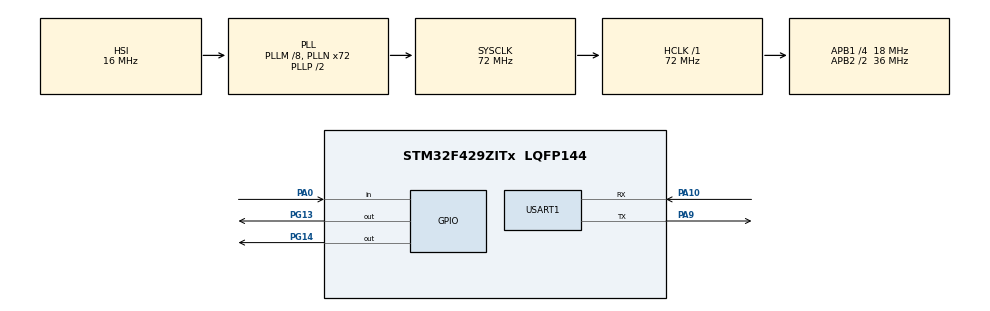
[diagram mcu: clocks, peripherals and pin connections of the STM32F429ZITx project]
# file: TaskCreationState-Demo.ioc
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FREERTOS.Tasks01=defaultTask,24,128,StartDefaultTask,Default,NULL,Dynamic,NULL,NULL
Mcu.Family=STM32F4
Mcu.Name=STM32F429ZITx
Mcu.Package=LQFP144
NVIC.PriorityGroup=NVIC_PRIORITYGROUP_4
PA0/WKUP.GPIO_PuPd=GPIO_PULLDOWN
PA0/WKUP.Signal=GPIO_Input
PA10.Mode=Asynchronous
PA10.Signal=USART1_RX
PA9.Mode=Asynchronous
PA9.Signal=USART1_TX
PG13.Signal=GPIO_Output
PG14.Signal=GPIO_Output
ProjectManager.HeapSize=0x200
ProjectManager.StackSize=0x400
ProjectManager.TargetToolchain=STM32CubeIDE
RCC.48MHZClocksFreq_Value=48000000
RCC.AHBFreq_Value=72000000
RCC.APB1CLKDivider=RCC_HCLK_DIV4
RCC.APB1Freq_Value=18000000
RCC.APB1TimFreq_Value=36000000
RCC.APB2CLKDivider=RCC_HCLK_DIV2
RCC.APB2Freq_Value=36000000
RCC.APB2TimFreq_Value=72000000
RCC.CortexFreq_Value=72000000
RCC.HCLKFreq_Value=72000000
RCC.HSE_VALUE=8000000
RCC.HSI_VALUE=16000000
RCC.LSE_VALUE=32768
RCC.PLLM=8
RCC.PLLN=72
RCC.PLLQ=3
RCC.PLLSAIN=50
RCC.SYSCLKFreq_VALUE=72000000
RCC.SYSCLKSource=RCC_SYSCLKSOURCE_PLLCLK
RCC.VCOOutputFreq_Value=144000000
USART1.VirtualMode=VM_ASYNC
VP_FREERTOS_VS_CMSIS_V2.Mode=CMSIS_V2
board=STM32F429I-DISC1

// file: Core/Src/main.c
/* USER CODE BEGIN Header */
/**
 ******************************************************************************
 * @file           : main.c
 * @brief          : Main program body
 ******************************************************************************
 * @attention
 *
 * Copyright (c) 2025 STMicroelectronics.
 * All rights reserved.
 *
 * This software is licensed under terms that can be found in the LICENSE file
 * in the root directory of this software component.
 * If no LICENSE file comes with this software, it is provided AS-IS.
 *
 ******************************************************************************
 */
/* USER CODE END Header */
#include "main.h"

UART_HandleTypeDef huart1;

/* Definitions for defaultTask */

/* USER CODE BEGIN PV */
/* Task handles */
TaskHandle_t xGreenLedTaskHandle = NULL;
TaskHandle_t xRedLedTaskHandle = NULL;
/* USER CODE END PV */

void SystemClock_Config(void);
static void MX_GPIO_Init(void);
static void MX_USART1_UART_Init(void);
void StartDefaultTask(void *argument);

/* USER CODE BEGIN PFP */
static void GreenLedTask(void *pvParameters);
static void RedLedTask(void *pvParameters);
/* USER CODE END PFP */

/* USER CODE BEGIN 0 */
int _write(int file, char *data, int len)
{
    HAL_UART_Transmit(&huart1, (uint8_t*)data, len, HAL_MAX_DELAY);
    return len;
}
/* USER CODE END 0 */

int main(void)
{

	/* MCU Configuration--------------------------------------------------------*/

	/* Reset of all peripherals, Initializes the Flash interface and the Systick. */
	HAL_Init();

	/* Configure the system clock */
	SystemClock_Config();

	/* Initialize all configured peripherals */
	MX_GPIO_Init();
	MX_USART1_UART_Init();

	/* Init scheduler */

	/* Create the thread(s) */
	/* creation of defaultTask */

	/* USER CODE BEGIN RTOS_THREADS */
	/* add threads, ... */
	printf("=== FreeRTOS Task Creation and States Demonstration ===\r\n");
	printf("STM32F429I Discovery Board\r\n");
	printf("FreeRTOS Version: %s\r\n", tskKERNEL_VERSION_NUMBER);

	/* Create tasks */
	xTaskCreate(
			GreenLedTask,           /* Task function */
			"GreenLedTask",         /* Task name */
			configMINIMAL_STACK_SIZE, /* Stack size */
			NULL,                   /* Parameters to pass to the task */
			tskIDLE_PRIORITY + 1,   /* Task priority */
			&xGreenLedTaskHandle    /* Task handle */
	);

	xTaskCreate(
			RedLedTask,             /* Task function */
			"RedLedTask",           /* Task name */
			configMINIMAL_STACK_SIZE, /* Stack size */
			NULL,                   /* Parameters to pass to the task */
			tskIDLE_PRIORITY + 1,   /* Task priority */
			&xRedLedTaskHandle      /* Task handle */
	);

	printf("All tasks created successfully. Starting scheduler...\r\n");

	/* Start the scheduler */
	vTaskStartScheduler();
	/* USER CODE END RTOS_THREADS */

	/* Start scheduler */

	/* We should never get here as control is now taken by the scheduler */

	/* Infinite loop */
	while (1)
	{

	}
}

void SystemClock_Config(void)
{
	RCC_OscInitTypeDef RCC_OscInitStruct = {0};
	RCC_ClkInitTypeDef RCC_ClkInitStruct = {0};

	/** Configure the main internal regulator output voltage
	 */
	__HAL_RCC_PWR_CLK_ENABLE();
	__HAL_PWR_VOLTAGESCALING_CONFIG(PWR_REGULATOR_VOLTAGE_SCALE3);

	/** Initializes the RCC Oscillators according to the specified parameters
	 * in the RCC_OscInitTypeDef structure.
	 */
	RCC_OscInitStruct.OscillatorType = RCC_OSCILLATORTYPE_HSI;
	RCC_OscInitStruct.HSIState = RCC_HSI_ON;
	RCC_OscInitStruct.HSICalibrationValue = RCC_HSICALIBRATION_DEFAULT;
	RCC_OscInitStruct.PLL.PLLState = RCC_PLL_ON;
	RCC_OscInitStruct.PLL.PLLSource = RCC_PLLSOURCE_HSI;
	RCC_OscInitStruct.PLL.PLLM = 8;
	RCC_OscInitStruct.PLL.PLLN = 72;
	RCC_OscInitStruct.PLL.PLLP = RCC_PLLP_DIV2;
	RCC_OscInitStruct.PLL.PLLQ = 3;
	if (HAL_RCC_OscConfig(&RCC_OscInitStruct) != HAL_OK)
	{
		Error_Handler();
	}

	/** Initializes the CPU, AHB and APB buses clocks
	 */
	RCC_ClkInitStruct.ClockType = RCC_CLOCKTYPE_HCLK|RCC_CLOCKTYPE_SYSCLK
			|RCC_CLOCKTYPE_PCLK1|RCC_CLOCKTYPE_PCLK2;
	RCC_ClkInitStruct.SYSCLKSource = RCC_SYSCLKSOURCE_PLLCLK;
	RCC_ClkInitStruct.AHBCLKDivider = RCC_SYSCLK_DIV1;
	RCC_ClkInitStruct.APB1CLKDivider = RCC_HCLK_DIV4;
	RCC_ClkInitStruct.APB2CLKDivider = RCC_HCLK_DIV2;

	if (HAL_RCC_ClockConfig(&RCC_ClkInitStruct, FLASH_LATENCY_2) != HAL_OK)
	{
		Error_Handler();
	}
}

static void MX_USART1_UART_Init(void)
{

	huart1.Instance = USART1;
	huart1.Init.BaudRate = 115200;
	huart1.Init.WordLength = UART_WORDLENGTH_8B;
	huart1.Init.StopBits = UART_STOPBITS_1;
	huart1.Init.Parity = UART_PARITY_NONE;
	huart1.Init.Mode = UART_MODE_TX_RX;
	huart1.Init.HwFlowCtl = UART_HWCONTROL_NONE;
	huart1.Init.OverSampling = UART_OVERSAMPLING_16;
	if (HAL_UART_Init(&huart1) != HAL_OK)
	{
		Error_Handler();
	}

}

static void MX_GPIO_Init(void)
{
	GPIO_InitTypeDef GPIO_InitStruct = {0};

	/* GPIO Ports Clock Enable */
	__HAL_RCC_GPIOA_CLK_ENABLE();
	__HAL_RCC_GPIOG_CLK_ENABLE();

	/*Configure GPIO pin Output Level */
	HAL_GPIO_WritePin(GPIOG, GPIO_PIN_13|GPIO_PIN_14, GPIO_PIN_RESET);

	/*Configure GPIO pin : PA0 */
	GPIO_InitStruct.Pin = GPIO_PIN_0;
	GPIO_InitStruct.Mode = GPIO_MODE_INPUT;
	GPIO_InitStruct.Pull = GPIO_PULLDOWN;
	HAL_GPIO_Init(GPIOA, &GPIO_InitStruct);

	/*Configure GPIO pins : PG13 PG14 */
	GPIO_InitStruct.Pin = GPIO_PIN_13|GPIO_PIN_14;
	GPIO_InitStruct.Mode = GPIO_MODE_OUTPUT_PP;
	GPIO_InitStruct.Pull = GPIO_NOPULL;
	GPIO_InitStruct.Speed = GPIO_SPEED_FREQ_LOW;
	HAL_GPIO_Init(GPIOG, &GPIO_InitStruct);

}

/* USER CODE BEGIN 4 */
/**
 * @brief Green LED Task - Toggles Green LED and prints status
 * @param pvParameters: Task parameters (unused)
 */
static void GreenLedTask(void *pvParameters)
{
	(void)pvParameters; /* Suppress unused parameter warning */

	printf("Green LED Task: Started\r\n");

	for (;;) {
		HAL_GPIO_TogglePin(GPIOG, GPIO_PIN_13); /* Toggle Green LED */
        		printf("Green LED Task: Toggling LED3\r\n");
		vTaskDelay(pdMS_TO_TICKS(500)); /* Block for 500ms (BLOCKED state) */
	}
}

/**
 * @brief Red LED Task - Toggles Red LED and prints status
 * @param pvParameters: Task parameters (unused)
 */
static void RedLedTask(void *pvParameters)
{
	(void)pvParameters; /* Suppress unused parameter warning */

	printf("Red LED Task: Started\r\n");

	for (;;) {
		HAL_GPIO_TogglePin(GPIOG, GPIO_PIN_14); /* Toggle Red LED */
        		printf("Red LED Task: Toggling LED4\r\n");
		vTaskDelay(pdMS_TO_TICKS(1000)); /* Block for 1000ms (BLOCKED state) */
	}
}
/* USER CODE END 4 */

void StartDefaultTask(void *argument)
{
	/* USER CODE BEGIN 5 */
	/* Infinite loop */
	for(;;)
	{
		vTaskDelay(pdMS_TO_TICKS(1));
	}
	/* USER CODE END 5 */
}

void Error_Handler(void)
{
	__disable_irq();
	while (1)
	{
	}
}
